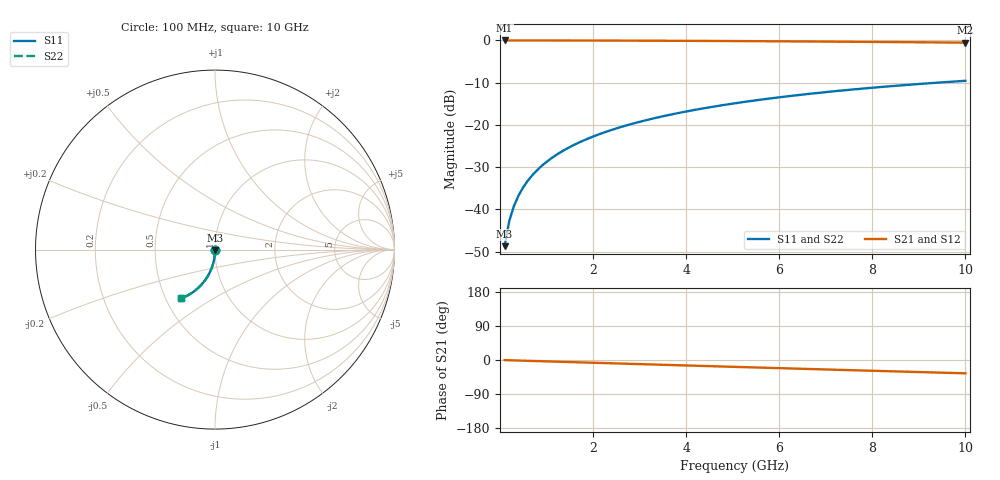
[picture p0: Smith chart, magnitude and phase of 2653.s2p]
# Hz S RI R 50.00
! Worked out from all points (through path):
!   100 points, 100 MHz to 10 GHz, reference 50 ohm
!   highest |S21| = 0.00 dB at 100 MHz (marker M1); lowest = -0.5 dB at 10 GHz (marker M2)
!   group delay of S21, straight-line fit = 9.78 ps
!   lowest |S11| = -48.7 dB at 100 MHz (marker M3), VSWR 1.01, Z = 50 - j0.366 ohm
!   |S11| at or under -10 dB: start of sweep to 9.394 GHz
!   |S22| runs from -48.7 to -9.6 dB; largest |S21 - S12| = 0
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1e8  0.000364 -0.00365  0.9996 -0.00631  0.9996 -0.00631  0.000364 -0.00365
2e8  0.000293 -0.00731  0.9995 -0.0126  0.9995 -0.0126  0.000293 -0.00731
3e8  0.000175 -0.011  0.9993 -0.0189  0.9993 -0.0189  0.000175 -0.011
4e8  1.01e-05 -0.0146  0.9992 -0.0252  0.9992 -0.0252  1.01e-05 -0.0146
5e8  -0.000201 -0.0183  0.9989 -0.0315  0.9989 -0.0315  -0.000201 -0.0183
6e8  -0.000458 -0.0219  0.9986 -0.0378  0.9986 -0.0378  -0.000458 -0.0219
7e8  -0.000761 -0.0255  0.9983 -0.0441  0.9983 -0.0441  -0.000761 -0.0255
8e8  -0.00111 -0.0292  0.9979 -0.0504  0.9979 -0.0504  -0.00111 -0.0292
9e8  -0.0015 -0.0328  0.9974 -0.0567  0.9974 -0.0567  -0.0015 -0.0328
1.1e9  -0.00243 -0.0401  0.9963 -0.0693  0.9963 -0.0693  -0.00243 -0.0401
1.4e9  -0.00416 -0.0509  0.9943 -0.0881  0.9943 -0.0881  -0.00416 -0.0509
1.8e9  -0.00711 -0.0652  0.9909 -0.113  0.9909 -0.113  -0.00711 -0.0652
2.1e9  -0.00978 -0.0758  0.9878 -0.1316  0.9878 -0.1316  -0.00978 -0.0758
2.5e9  -0.014 -0.0898  0.983 -0.1562  0.983 -0.1562  -0.014 -0.0898
2.9e9  -0.0188 -0.1035  0.9773 -0.1806  0.9773 -0.1806  -0.0188 -0.1035
3.4e9  -0.0259 -0.1203  0.9692 -0.2107  0.9692 -0.2107  -0.0259 -0.1203
4.2e9  -0.0392 -0.1459  0.9536 -0.2578  0.9536 -0.2578  -0.0392 -0.1459
5.1e9  -0.0571 -0.1729  0.9328 -0.3089  0.9328 -0.3089  -0.0571 -0.1729
5.9e9  -0.0752 -0.1949  0.9114 -0.3525  0.9114 -0.3525  -0.0752 -0.1949
6.7e9  -0.0952 -0.2148  0.8877 -0.394  0.8877 -0.394  -0.0952 -0.2148
8.4e9  -0.1427 -0.2496  0.8306 -0.4751  0.8306 -0.4751  -0.1427 -0.2496
1e10  -0.1915 -0.2724  0.7705 -0.5419  0.7705 -0.5419  -0.1915 -0.2724
